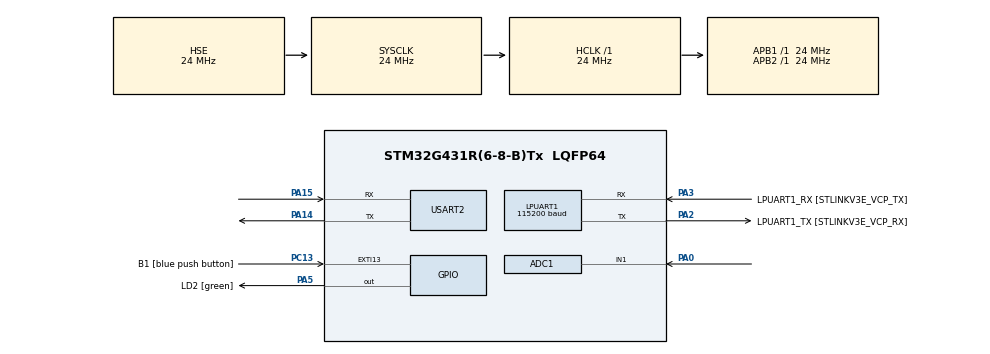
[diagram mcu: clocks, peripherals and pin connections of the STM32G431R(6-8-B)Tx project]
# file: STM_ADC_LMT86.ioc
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ADC1.Channel-0\#ChannelRegularConversion=ADC_CHANNEL_1
ADC1.NbrOfConversionFlag=1
ADC1.OffsetNumber-0\#ChannelRegularConversion=ADC_OFFSET_NONE
ADC1.Rank-0\#ChannelRegularConversion=1
ADC1.SamplingTime-0\#ChannelRegularConversion=ADC_SAMPLETIME_2CYCLES_5
ADC1.master=1
LPUART1.BaudRate=115200
LPUART1.WordLength=UART_WORDLENGTH_8B
Mcu.Family=STM32G4
Mcu.Name=STM32G431R(6-8-B)Tx
Mcu.Package=LQFP64
NVIC.PriorityGroup=NVIC_PRIORITYGROUP_4
PA0.Mode=IN1-Single-Ended
PA0.Signal=ADC1_IN1
PA14.Mode=Asynchronous
PA14.Signal=USART2_TX
PA15.Mode=Asynchronous
PA15.Signal=USART2_RX
PA2.GPIO_Label=LPUART1_TX [STLINKV3E_VCP_RX]
PA2.Mode=Asynchronous
PA2.Signal=LPUART1_TX
PA3.GPIO_Label=LPUART1_RX [STLINKV3E_VCP_TX]
PA3.Mode=Asynchronous
PA3.Signal=LPUART1_RX
PA5.GPIO_Label=LD2 [green]
PA5.Signal=GPIO_Output
PB3.GPIO_Label=T_SWO
PB3.Signal=SYS_JTDO-SWO
PC13.GPIO_Label=B1 [blue push button]
PC13.Signal=GPXTI13
PC14-OSC32_IN.Mode=LSE-External-Oscillator
PC14-OSC32_IN.Signal=RCC_OSC32_IN
PC15-OSC32_OUT.Mode=LSE-External-Oscillator
PC15-OSC32_OUT.Signal=RCC_OSC32_OUT
PF0-OSC_IN.Mode=HSE-External-Oscillator
PF0-OSC_IN.Signal=RCC_OSC_IN
PF1-OSC_OUT.Mode=HSE-External-Oscillator
PF1-OSC_OUT.Signal=RCC_OSC_OUT
ProjectManager.HeapSize=0x200
ProjectManager.StackSize=0x400
ProjectManager.TargetToolchain=MDK-ARM V5.27
RCC.ADC12Freq_Value=24000000
RCC.AHBFreq_Value=24000000
RCC.APB1Freq_Value=24000000
RCC.APB1TimFreq_Value=24000000
RCC.APB2Freq_Value=24000000
RCC.APB2TimFreq_Value=24000000
RCC.CortexFreq_Value=24000000
RCC.EXTERNAL_CLOCK_VALUE=12288000
RCC.HCLKFreq_Value=24000000
RCC.HSE_VALUE=24000000
RCC.HSI48_VALUE=48000000
RCC.HSI_VALUE=16000000
RCC.PLLM=RCC_PLLM_DIV4
RCC.PLLN=85
RCC.PLLR=RCC_PLLR_DIV4
RCC.RTCClockSelection=RCC_RTCCLKSOURCE_LSE
RCC.SYSCLKFreq_VALUE=24000000
RCC.SYSCLKSource=RCC_SYSCLKSOURCE_HSE
RCC.USBFreq_Value=170000000
RCC.VCOOutputFreq_Value=340000000
USART2.VirtualMode-Asynchronous=VM_ASYNC
VP_RTC_VS_RTC_Activate.Mode=RTC_Enabled
VP_SYS_VS_DBSignals.Mode=DisableDeadBatterySignals
board=NUCLEO-G431RB

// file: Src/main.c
/* USER CODE BEGIN Header */
/**
  ******************************************************************************
  * @file           : main.c
  * @brief          : Main program body
  ******************************************************************************
  * @attention
  *
  * <h2><center>&copy; Copyright (c) 2020 STMicroelectronics.
  * All rights reserved.</center></h2>
  *
  * This software component is licensed by ST under BSD 3-Clause license,
  * the "License"; You may not use this file except in compliance with the
  * License. You may obtain a copy of the License at:
  *                        opensource.org/licenses/BSD-3-Clause
  *
  ******************************************************************************
  */
/* USER CODE END Header */
#include "main.h"

/* USER CODE BEGIN Includes */
#include <stdio.h>
#include <math.h>
#include "stdarg.h"
/* USER CODE END Includes */

ADC_HandleTypeDef hadc1;

UART_HandleTypeDef hlpuart1;
UART_HandleTypeDef huart2;

RTC_HandleTypeDef hrtc;

/* USER CODE BEGIN PV */
float ADC_Value;
float Temperature;
/* USER CODE END PV */

void SystemClock_Config(void);
static void MX_GPIO_Init(void);
static void MX_LPUART1_UART_Init(void);
static void MX_RTC_Init(void);
static void MX_ADC1_Init(void);
static void MX_USART2_UART_Init(void);

/* USER CODE BEGIN 0 */

 void vprint(const char *fmt,va_list argp){
	char string[200];
	if(0<vsprintf(string,fmt,argp)){

		HAL_UART_Transmit(&hlpuart1,(uint8_t*)string,strlen(string),0xFFFFFF);

	}
}

void debug_printf(const char *fmt, ...){
	va_list argp;
	va_start(argp,fmt);
	vprint(fmt,argp);
	va_end(argp);

}

/* USER CODE END 0 */

int main(void)
{
  /* USER CODE BEGIN 1 */

	uint8_t *tmp;

  /* USER CODE END 1 */

  /* MCU Configuration--------------------------------------------------------*/

  /* Reset of all peripherals, Initializes the Flash interface and the Systick. */
  HAL_Init();

  /* Configure the system clock */
  SystemClock_Config();

  /* Initialize all configured peripherals */
  MX_GPIO_Init();
  MX_LPUART1_UART_Init();
  MX_RTC_Init();
  MX_ADC1_Init();
  MX_USART2_UART_Init();

  /* USER CODE BEGIN 2 */
	ADC_Enable(&hadc1);
	HAL_ADC_StartSampling(&hadc1);

	HAL_GPIO_WritePin(LD2_GPIO_Port,LD2_Pin,1);
	HAL_Delay(1000);
	HAL_GPIO_WritePin(LD2_GPIO_Port,LD2_Pin,0);
	HAL_Delay(1000);

	HAL_UART_Transmit(&hlpuart1,"\n\rAnalog Temperature Sensor LMT86",sizeof("\n\rAnalog Temperature Sensor LMT86"),1000);

  /* USER CODE END 2 */

  /* Infinite loop */
  /* USER CODE BEGIN WHILE */
  while (1)
	{
		HAL_ADC_Start(&hadc1);
		while(HAL_ADC_PollForConversion(&hadc1, 1000000)!=HAL_OK);
		ADC_Value = HAL_ADC_GetValue(&hadc1);
		debug_printf("\n\r ADC_value=%f mV",ADC_Value);

		Temperature  = (((10.888)-sqrt((pow(-10.888,2))+(4*0.00347*(1777.3-ADC_Value))))/(2*(-0.00347)))+30;

		debug_printf("\n\rTemperature in C : %f",Temperature);
		HAL_Delay(2000);

    /* USER CODE END WHILE */

  }
}

void SystemClock_Config(void)
{
  RCC_OscInitTypeDef RCC_OscInitStruct = {0};
  RCC_ClkInitTypeDef RCC_ClkInitStruct = {0};
  RCC_PeriphCLKInitTypeDef PeriphClkInit = {0};

  /** Configure the main internal regulator output voltage
  */
  HAL_PWREx_ControlVoltageScaling(PWR_REGULATOR_VOLTAGE_SCALE1);
  /** Configure LSE Drive Capability
  */
  HAL_PWR_EnableBkUpAccess();
  __HAL_RCC_LSEDRIVE_CONFIG(RCC_LSEDRIVE_LOW);
  /** Initializes the RCC Oscillators according to the specified parameters
  * in the RCC_OscInitTypeDef structure.
  */
  RCC_OscInitStruct.OscillatorType = RCC_OSCILLATORTYPE_HSE|RCC_OSCILLATORTYPE_LSE;
  RCC_OscInitStruct.HSEState = RCC_HSE_ON;
  RCC_OscInitStruct.LSEState = RCC_LSE_ON;
  RCC_OscInitStruct.PLL.PLLState = RCC_PLL_NONE;
  if (HAL_RCC_OscConfig(&RCC_OscInitStruct) != HAL_OK)
  {
    Error_Handler();
  }
  /** Initializes the CPU, AHB and APB buses clocks
  */
  RCC_ClkInitStruct.ClockType = RCC_CLOCKTYPE_HCLK|RCC_CLOCKTYPE_SYSCLK
                              |RCC_CLOCKTYPE_PCLK1|RCC_CLOCKTYPE_PCLK2;
  RCC_ClkInitStruct.SYSCLKSource = RCC_SYSCLKSOURCE_HSE;
  RCC_ClkInitStruct.AHBCLKDivider = RCC_SYSCLK_DIV1;
  RCC_ClkInitStruct.APB1CLKDivider = RCC_HCLK_DIV1;
  RCC_ClkInitStruct.APB2CLKDivider = RCC_HCLK_DIV1;

  if (HAL_RCC_ClockConfig(&RCC_ClkInitStruct, FLASH_LATENCY_0) != HAL_OK)
  {
    Error_Handler();
  }
  /** Initializes the peripherals clocks
  */
  PeriphClkInit.PeriphClockSelection = RCC_PERIPHCLK_RTC|RCC_PERIPHCLK_USART2
                              |RCC_PERIPHCLK_LPUART1|RCC_PERIPHCLK_ADC12;
  PeriphClkInit.Usart2ClockSelection = RCC_USART2CLKSOURCE_PCLK1;
  PeriphClkInit.Lpuart1ClockSelection = RCC_LPUART1CLKSOURCE_PCLK1;
  PeriphClkInit.Adc12ClockSelection = RCC_ADC12CLKSOURCE_SYSCLK;
  PeriphClkInit.RTCClockSelection = RCC_RTCCLKSOURCE_LSE;

  if (HAL_RCCEx_PeriphCLKConfig(&PeriphClkInit) != HAL_OK)
  {
    Error_Handler();
  }
}

static void MX_ADC1_Init(void)
{

  ADC_MultiModeTypeDef multimode = {0};
  ADC_ChannelConfTypeDef sConfig = {0};

  /** Common config
  */
  hadc1.Instance = ADC1;
  hadc1.Init.ClockPrescaler = ADC_CLOCK_SYNC_PCLK_DIV2;
  hadc1.Init.Resolution = ADC_RESOLUTION_12B;
  hadc1.Init.DataAlign = ADC_DATAALIGN_RIGHT;
  hadc1.Init.GainCompensation = 0;
  hadc1.Init.ScanConvMode = ADC_SCAN_DISABLE;
  hadc1.Init.EOCSelection = ADC_EOC_SINGLE_CONV;
  hadc1.Init.LowPowerAutoWait = DISABLE;
  hadc1.Init.ContinuousConvMode = DISABLE;
  hadc1.Init.NbrOfConversion = 1;
  hadc1.Init.DiscontinuousConvMode = DISABLE;
  hadc1.Init.ExternalTrigConv = ADC_SOFTWARE_START;
  hadc1.Init.ExternalTrigConvEdge = ADC_EXTERNALTRIGCONVEDGE_NONE;
  hadc1.Init.DMAContinuousRequests = DISABLE;
  hadc1.Init.Overrun = ADC_OVR_DATA_PRESERVED;
  hadc1.Init.OversamplingMode = DISABLE;
  if (HAL_ADC_Init(&hadc1) != HAL_OK)
  {
    Error_Handler();
  }
  /** Configure the ADC multi-mode
  */
  multimode.Mode = ADC_MODE_INDEPENDENT;
  if (HAL_ADCEx_MultiModeConfigChannel(&hadc1, &multimode) != HAL_OK)
  {
    Error_Handler();
  }
  /** Configure Regular Channel
  */
  sConfig.Channel = ADC_CHANNEL_1;
  sConfig.Rank = ADC_REGULAR_RANK_1;
  sConfig.SamplingTime = ADC_SAMPLETIME_2CYCLES_5;
  sConfig.SingleDiff = ADC_SINGLE_ENDED;
  sConfig.OffsetNumber = ADC_OFFSET_NONE;
  sConfig.Offset = 0;
  if (HAL_ADC_ConfigChannel(&hadc1, &sConfig) != HAL_OK)
  {
    Error_Handler();
  }

}

static void MX_LPUART1_UART_Init(void)
{

  hlpuart1.Instance = LPUART1;
  hlpuart1.Init.BaudRate = 115200;
  hlpuart1.Init.WordLength = UART_WORDLENGTH_8B;
  hlpuart1.Init.StopBits = UART_STOPBITS_1;
  hlpuart1.Init.Parity = UART_PARITY_NONE;
  hlpuart1.Init.Mode = UART_MODE_TX_RX;
  hlpuart1.Init.HwFlowCtl = UART_HWCONTROL_NONE;
  hlpuart1.Init.OneBitSampling = UART_ONE_BIT_SAMPLE_DISABLE;
  hlpuart1.AdvancedInit.AdvFeatureInit = UART_ADVFEATURE_NO_INIT;
  if (HAL_UART_Init(&hlpuart1) != HAL_OK)
  {
    Error_Handler();
  }
  if (HAL_UARTEx_SetTxFifoThreshold(&hlpuart1, UART_TXFIFO_THRESHOLD_1_8) != HAL_OK)
  {
    Error_Handler();
  }
  if (HAL_UARTEx_SetRxFifoThreshold(&hlpuart1, UART_RXFIFO_THRESHOLD_1_8) != HAL_OK)
  {
    Error_Handler();
  }
  if (HAL_UARTEx_DisableFifoMode(&hlpuart1) != HAL_OK)
  {
    Error_Handler();
  }

}

static void MX_USART2_UART_Init(void)
{

  huart2.Instance = USART2;
  huart2.Init.BaudRate = 115200;
  huart2.Init.WordLength = UART_WORDLENGTH_8B;
  huart2.Init.StopBits = UART_STOPBITS_1;
  huart2.Init.Parity = UART_PARITY_NONE;
  huart2.Init.Mode = UART_MODE_TX_RX;
  huart2.Init.HwFlowCtl = UART_HWCONTROL_NONE;
  huart2.Init.OverSampling = UART_OVERSAMPLING_16;
  huart2.Init.OneBitSampling = UART_ONE_BIT_SAMPLE_DISABLE;
  huart2.Init.ClockPrescaler = UART_PRESCALER_DIV1;
  huart2.AdvancedInit.AdvFeatureInit = UART_ADVFEATURE_NO_INIT;
  if (HAL_UART_Init(&huart2) != HAL_OK)
  {
    Error_Handler();
  }
  if (HAL_UARTEx_SetTxFifoThreshold(&huart2, UART_TXFIFO_THRESHOLD_1_8) != HAL_OK)
  {
    Error_Handler();
  }
  if (HAL_UARTEx_SetRxFifoThreshold(&huart2, UART_RXFIFO_THRESHOLD_1_8) != HAL_OK)
  {
    Error_Handler();
  }
  if (HAL_UARTEx_DisableFifoMode(&huart2) != HAL_OK)
  {
    Error_Handler();
  }

}

static void MX_RTC_Init(void)
{

  /** Initialize RTC Only
  */
  hrtc.Instance = RTC;
  hrtc.Init.HourFormat = RTC_HOURFORMAT_24;
  hrtc.Init.AsynchPrediv = 127;
  hrtc.Init.SynchPrediv = 255;
  hrtc.Init.OutPut = RTC_OUTPUT_DISABLE;
  hrtc.Init.OutPutRemap = RTC_OUTPUT_REMAP_NONE;
  hrtc.Init.OutPutPolarity = RTC_OUTPUT_POLARITY_HIGH;
  hrtc.Init.OutPutType = RTC_OUTPUT_TYPE_OPENDRAIN;
  hrtc.Init.OutPutPullUp = RTC_OUTPUT_PULLUP_NONE;
  if (HAL_RTC_Init(&hrtc) != HAL_OK)
  {
    Error_Handler();
  }

}

static void MX_GPIO_Init(void)
{
  GPIO_InitTypeDef GPIO_InitStruct = {0};

  /* GPIO Ports Clock Enable */
  __HAL_RCC_GPIOC_CLK_ENABLE();
  __HAL_RCC_GPIOF_CLK_ENABLE();
  __HAL_RCC_GPIOA_CLK_ENABLE();
  __HAL_RCC_GPIOB_CLK_ENABLE();

  /*Configure GPIO pin Output Level */
  HAL_GPIO_WritePin(LD2_GPIO_Port, LD2_Pin, GPIO_PIN_RESET);

  /*Configure GPIO pin : B1_Pin */
  GPIO_InitStruct.Pin = B1_Pin;
  GPIO_InitStruct.Mode = GPIO_MODE_IT_RISING;
  GPIO_InitStruct.Pull = GPIO_NOPULL;
  HAL_GPIO_Init(B1_GPIO_Port, &GPIO_InitStruct);

  /*Configure GPIO pin : LD2_Pin */
  GPIO_InitStruct.Pin = LD2_Pin;
  GPIO_InitStruct.Mode = GPIO_MODE_OUTPUT_PP;
  GPIO_InitStruct.Pull = GPIO_NOPULL;
  GPIO_InitStruct.Speed = GPIO_SPEED_FREQ_LOW;
  HAL_GPIO_Init(LD2_GPIO_Port, &GPIO_InitStruct);

}

void Error_Handler(void)
{
}

/************************ (C) COPYRIGHT STMicroelectronics *****END OF FILE****/
